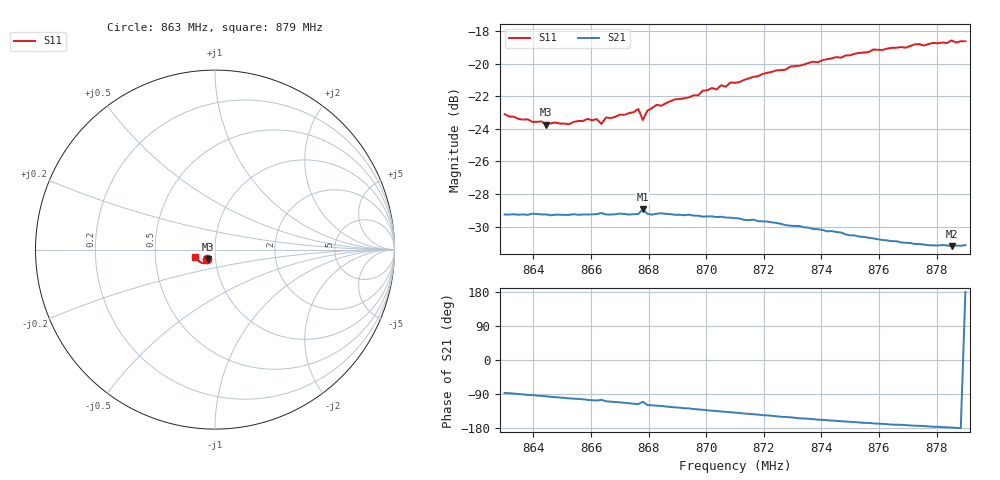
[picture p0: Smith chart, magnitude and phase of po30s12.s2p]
# HZ S RI R 50
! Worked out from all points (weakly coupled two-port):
!   101 points, 863 MHz to 879 MHz, reference 50 ohm
!   highest |S21| = -28.94 dB at 867.8 MHz (marker M1); lowest = -31.2 dB at 878.52 MHz (marker M2)
!   lowest |S11| = -23.7 dB at 864.44 MHz (marker M3), VSWR 1.14, Z = 46.2 - j4.95 ohm
!   |S11| at or under -10 dB: start of sweep to end of sweep
!   S12 and S22 are empty: the file has one direction only
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8.63e8  -0.0452 -0.0534  0.00199 -0.0344  0 0  0 0
8.6444e8  -0.0372 -0.0534  -0.00352 -0.0343  0 0  0 0
8.6572e8  -0.035 -0.0568  -0.00814 -0.0335  0 0  0 0
8.662e8  -0.0355 -0.0576  -0.01 -0.033  0 0  0 0
8.6636e8  -0.0305 -0.0578  -0.00907 -0.0336  0 0  0 0
8.6652e8  -0.0341 -0.0593  -0.0112 -0.0326  0 0  0 0
8.6764e8  -0.0351 -0.0636  -0.0153 -0.031  0 0  0 0
8.678e8  -0.0236 -0.0629  -0.0124 -0.0335  0 0  0 0
8.6796e8  -0.0345 -0.0629  -0.0167 -0.0303  0 0  0 0
8.6828e8  -0.0356 -0.0658  -0.0176 -0.0298  0 0  0 0
8.6844e8  -0.0359 -0.0651  -0.0181 -0.0296  0 0  0 0
8.6892e8  -0.0379 -0.0679  -0.0197 -0.0282  0 0  0 0
8.6972e8  -0.0394 -0.0697  -0.0221 -0.0261  0 0  0 0
8.6988e8  -0.0416 -0.0714  -0.0224 -0.0254  0 0  0 0
8.7036e8  -0.043 -0.0714  -0.0237 -0.0241  0 0  0 0
8.7052e8  -0.045 -0.0732  -0.0244 -0.0236  0 0  0 0
8.7068e8  -0.0447 -0.0723  -0.0246 -0.0231  0 0  0 0
8.71e8  -0.047 -0.0736  -0.0253 -0.0221  0 0  0 0
8.7372e8  -0.0683 -0.0751  -0.0284 -0.0126  0 0  0 0
8.7644e8  -0.093 -0.0623  -0.0281 -0.00468  0 0  0 0
8.7852e8  -0.1089 -0.0454  -0.0275 -0.000825  0 0  0 0
8.79e8  -0.1106 -0.039  -0.0277 0.000106  0 0  0 0
